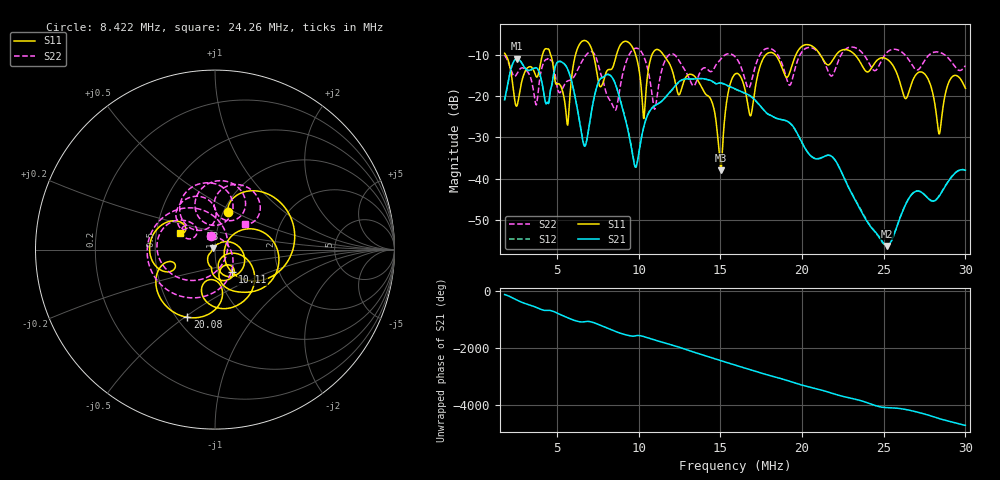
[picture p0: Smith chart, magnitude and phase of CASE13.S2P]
!Agilent Technologies,E5061B,MY49101568,A.02.00
!Date: Wed Mar 01 12:37:45 2023
!Data & Calibration Information:
!Freq	S11:SOLT2(OFF)	S21:SOLT2(OFF)	S12:SOLT2(OFF)	S22:SOLT2(OFF)
# Hz S dB R 50
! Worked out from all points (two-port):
!   1155 points, 1.8 MHz to 30 MHz, reference 50 ohm
!   highest |S21| = -10.97 dB at 2.558 MHz (marker M1); lowest = -56.3 dB at 25.19 MHz (marker M2)
!   |S21| within 3 dB of the highest: 2.158 MHz to 3.889 MHz (1.732 MHz wide, 57.3 % of centre); 4.835 MHz to 5.706 MHz (870.9 kHz wide, 16.5 % of centre)
!   lowest |S11| = -38.1 dB at 15.04 MHz (marker M3), VSWR 1.03, Z = 49 + j0.765 ohm
!   |S11| at or under -10 dB: 1.859 MHz to 4.12 MHz (2.261 MHz wide, 75.6 % of centre); 11.51 MHz to 17.8 MHz (6.284 MHz wide, 42.9 % of centre); 23.23 MHz to end of sweep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
!   |S22| runs from -23.5 to -8.2 dB; largest |S21 - S12| = 0.0062
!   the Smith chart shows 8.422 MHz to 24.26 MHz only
!   S11 on the Smith chart (normalised r, x): 8.422 MHz: 1.05, +0.46; 10.11 MHz: 1.17, -0.30; 20.08 MHz: 0.57, -0.51; 24.26 MHz: 0.66, +0.13
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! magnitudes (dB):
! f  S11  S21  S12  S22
! 1.8 MHz  -9.7  -20.9  -21.1  -10.1
! 2.558 MHz  -22.4  -11.0  -10.9  -14.6
! 3.731 MHz  -15.3  -13.2  -13.2  -22.2
! 4.39 MHz  -8.6  -21.7  -21.7  -11.2
! 5.637 MHz  -27.0  -13.3  -13.3  -16.4
! 6.516 MHz  -6.8  -29.3  -29.1  -11.7
! 8.422 MHz  -13.1  -15.8  -15.8  -22.4
! 10.11 MHz  -16.0  -31.5  -31.5  -9.0
! 11.21 MHz  -8.8  -21.9  -21.8  -18.0
! 14.38 MHz  -20.6  -16.2  -16.3  -14.1
! 15.04 MHz  -38.1  -16.9  -16.9  -11.0
! 15.9 MHz  -14.7  -18.3  -18.4  -10.5
! 16.85 MHz  -24.8  -20.1  -20.1  -17.2
! 17.73 MHz  -10.3  -23.7  -23.8  -8.7
! 20.08 MHz  -7.8  -31.9  -32.0  -8.9
! 20.62 MHz  -7.9  -34.8  -34.7  -8.4
! 24.26 MHz  -13.2  -52.0  -51.8  -13.2
! 25.19 MHz  -11.1  -56.3  -56.4  -9.5
! 25.31 MHz  -11.4  -56.0  -56.0  -9.1
! 27.58 MHz  -15.0  -44.3  -44.2  -11.0
! 28.39 MHz  -29.2  -44.3  -44.2  -9.4
! 30 MHz  -18.2  -38.0  -38.0  -12.7
